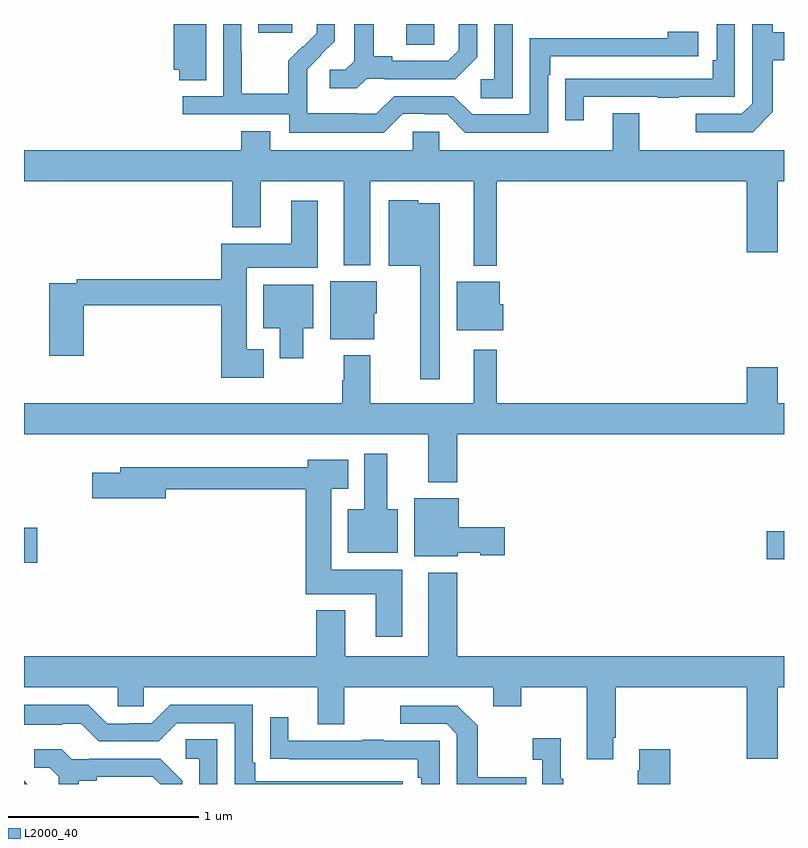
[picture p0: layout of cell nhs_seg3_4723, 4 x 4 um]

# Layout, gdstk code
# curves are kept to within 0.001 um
import gdstk
lib = gdstk.Library(unit=1e-6, precision=1e-09)
def R(c, l, rs):  # rectangles x0, y0, x1, y1
    for r in rs: c.add(gdstk.rectangle(r[:2], r[2:], *l))
def P(c, l, *ps):  # polygons
    for p in ps: c.add(gdstk.Polygon(p, *l))
L2000_40 = (2000, 40)

nhs_seg3_4723 = lib.new_cell('nhs_seg3_4723')
R(nhs_seg3_4723, L2000_40, [(365,709.565,365.071,709.748), (368.91,709.583,369,709.73), (367.013,712.291,367.158,712.4), (366.233,712.353,366.412,712.4)])
P(nhs_seg3_4723, L2000_40, [(366.993,711.927),(367.109,711.927),(367.109,711.924),(367.227,711.924),(367.323,711.828),(367.758,711.828),(367.758,712.133),(367.771,712.133),(367.771,712.23),(368.548,712.23),(368.548,712.36),(368.387,712.36),(368.387,712.326),(367.662,712.326),(367.662,711.924),(367.359,711.924),(367.263,712.02),(366.948,712.02),(366.855,711.927),(366.755,711.927),(366.755,711.931),(366.492,711.931),(366.492,712.065),(366.49,712.065),(366.49,712.162),(366.636,712.31),(366.636,712.4),(366.542,712.4),(366.542,712.352),(366.471,712.281),(366.468,712.284),(366.391,712.207),(366.391,712.033),(366.147,712.033),(366.147,712.256),(366.144,712.256),(366.144,712.4),(366.048,712.4),(366.048,712.02),(365.835,712.02),(365.835,711.924),(366.396,711.924),(366.396,711.827),(366.893,711.827)],
  [(365.959,712.4),(365.789,712.4),(365.789,712.158),(365.816,712.158),(365.816,712.105),(365.959,712.105)],
  [(367.572,712.4),(367.476,712.4),(367.476,712.11),(367.404,712.11),(367.404,712.009),(367.572,712.009)],
  [(366.804,712.113),(366.898,712.113),(366.898,712.11),(367.27,712.11),(367.386,712.226),(367.386,712.4),(367.289,712.4),(367.289,712.263),(367.232,712.206),(366.937,712.206),(366.937,712.229),(366.841,712.229),(366.841,712.4),(366.737,712.4),(366.737,712.205),(366.69,712.158),(366.609,712.158),(366.609,712.061),(366.752,712.061)],
  [(367.945,712.017),(368.335,712.017),(368.335,712.012),(368.447,712.012),(368.447,712.017),(368.742,712.017),(368.742,712.4),(368.646,712.4),(368.646,712.21),(368.626,712.21),(368.626,712.113),(367.951,712.113),(367.951,712.112),(367.849,712.112),(367.849,711.894),(367.945,711.894)],
  [(368.941,711.937),(368.941,712.21),(369,712.21),(369,712.357),(368.941,712.357),(368.941,712.4),(368.832,712.4),(368.832,711.981),(368.778,711.927),(368.535,711.927),(368.535,711.831),(368.835,711.831)],
  [(367.489,711.572),(368.804,711.572),(368.804,711.198),(368.968,711.198),(368.968,711.572),(369,711.572),(369,711.736),(368.239,711.736),(368.239,711.931),(368.099,711.931),(368.099,711.736),(367.185,711.736),(367.185,711.834),(367.047,711.834),(367.047,711.736),(366.295,711.736),(366.295,711.835),(366.143,711.835),(366.143,711.736),(365,711.736),(365,711.572),(366.095,711.572),(366.095,711.329),(366.247,711.329),(366.247,711.572),(366.683,711.572),(366.683,711.131),(366.823,711.131),(366.823,711.572),(367.367,711.572),(367.367,711.128),(367.489,711.128)],
  [(367.189,711.457),(367.074,711.457),(367.074,711.472),(366.92,711.472),(366.92,711.128),(367.085,711.128),(367.085,710.529),(367.189,710.529)],
  [(366.262,710.689),(366.172,710.689),(366.172,711.116),(366.547,711.116),(366.547,711.469),(366.407,711.469),(366.407,711.244),(366.038,711.244),(366.038,711.056),(365.278,711.056),(365.278,711.036),(365.132,711.036),(365.132,710.655),(365.315,710.655),(365.315,710.92),(366.038,710.92),(366.038,710.537),(366.262,710.537)],
  [(366.844,710.877),(366.856,710.877),(366.856,711.046),(366.611,711.046),(366.611,710.741),(366.844,710.741)],
  [(367.522,710.925),(367.504,710.925),(367.504,711.043),(367.277,711.043),(367.277,710.789),(367.522,710.789)],
  [(366.469,710.798),(366.523,710.798),(366.523,711.028),(366.26,711.028),(366.26,710.798),(366.347,710.798),(366.347,710.64),(366.469,710.64)],
  [(367.28,710.24),(369,710.24),(369,710.404),(368.968,710.404),(368.968,710.593),(368.804,710.593),(368.804,710.404),(367.489,710.404),(367.489,710.686),(367.367,710.686),(367.367,710.404),(366.823,710.404),(366.823,710.656),(366.683,710.656),(366.683,710.525),(366.676,710.525),(366.676,710.404),(365,710.404),(365,710.24),(367.127,710.24),(367.127,709.988),(367.28,709.988)],
  [(366.967,709.846),(366.913,709.846),(366.913,710.137),(366.791,710.137),(366.791,709.846),(366.704,709.846),(366.704,709.616),(366.967,709.616)],
  [(366.991,709.528),(366.616,709.528),(366.616,709.955),(366.706,709.955),(366.706,710.107),(366.494,710.107),(366.494,710.068),(365.507,710.068),(365.507,710.038),(365.358,710.038),(365.358,709.904),(365.746,709.904),(365.746,709.951),(366.482,709.951),(366.482,709.4),(366.851,709.4),(366.851,709.176),(366.991,709.176)],
  [(367.284,709.616),(367.401,709.616),(367.401,709.604),(367.531,709.604),(367.531,709.751),(367.288,709.751),(367.288,709.903),(367.055,709.903),(367.055,709.598),(367.284,709.598)],
  [(368.101,708.643),(368.114,708.643),(368.114,708.908),(368.804,708.908),(368.804,708.534),(368.968,708.534),(368.968,708.908),(369,708.908),(369,709.072),(367.28,709.072),(367.28,709.513),(367.127,709.513),(367.127,709.072),(366.691,709.072),(366.691,709.315),(366.539,709.315),(366.539,709.072),(365,709.072),(365,708.908),(365.493,708.908),(365.493,708.81),(365.631,708.81),(365.631,708.908),(366.545,708.908),(366.545,708.714),(366.685,708.714),(366.685,708.908),(367.469,708.908),(367.469,708.809),(367.617,708.809),(367.617,708.908),(367.961,708.908),(367.961,708.531),(368.101,708.531)],
  [(366.994,708.414),(366.217,708.414),(366.217,708.511),(366.204,708.511),(366.204,708.816),(365.769,708.816),(365.673,708.72),(365.555,708.72),(365.555,708.717),(365.439,708.717),(365.339,708.817),(365,708.817),(365,708.713),(365.201,708.713),(365.201,708.717),(365.301,708.717),(365.394,708.624),(365.709,708.624),(365.805,708.72),(366.108,708.72),(366.108,708.4),(366.994,708.4)],
  [(367.643,708.435),(367.387,708.435),(367.387,708.707),(367.281,708.813),(366.981,708.813),(366.981,708.717),(367.224,708.717),(367.278,708.663),(367.278,708.4),(367.643,708.4)],
  [(367.188,708.627),(366.893,708.627),(366.893,708.632),(366.781,708.632),(366.781,708.627),(366.391,708.627),(366.391,708.751),(366.295,708.751),(366.295,708.532),(366.397,708.532),(366.397,708.531),(367.072,708.531),(367.072,708.434),(367.092,708.434),(367.092,708.4),(367.188,708.4)],
  [(367.837,708.427),(367.825,708.427),(367.825,708.64),(367.677,708.64),(367.677,708.527),(367.728,708.527),(367.728,708.4),(367.837,708.4)],
  [(366.018,708.635),(365.85,708.635),(365.85,708.534),(365.922,708.534),(365.922,708.4),(366.018,708.4)],
  [(365.287,708.416),(365.383,708.416),(365.383,708.438),(365.678,708.438),(365.716,708.4),(365.832,708.4),(365.832,708.418),(365.716,708.534),(365.344,708.534),(365.344,708.531),(365.25,708.531),(365.198,708.583),(365.055,708.583),(365.055,708.486),(365.136,708.486),(365.183,708.439),(365.183,708.4),(365.287,708.4)],
  [(368.4,708.583),(368.237,708.583),(368.237,708.47),(368.23,708.47),(368.23,708.4),(368.4,708.4)],
  [(365.009,708.407),(365.01,708.408),(365,708.418),(365,708.4),(365.016,708.4)])

lib.write_gds('nhs_seg3_4723.gds')
